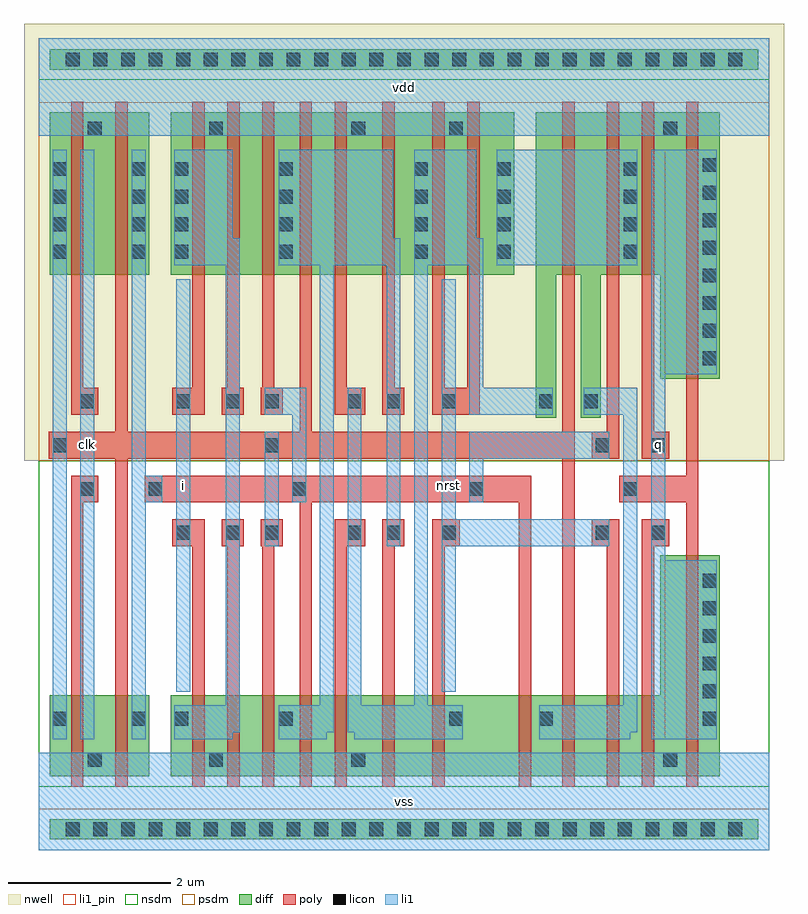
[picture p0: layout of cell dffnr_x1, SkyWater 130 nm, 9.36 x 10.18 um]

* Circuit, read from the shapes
.subckt dffnr_x1 clk i nrst q vdd vss
XM1 vss clk n1 VSUBS sky130_fd_pr__nfet_01v8 w=1 l=0.15
XM2 n2 n1 vss VSUBS sky130_fd_pr__nfet_01v8 w=1 l=0.15
XM3 vss i n3 VSUBS sky130_fd_pr__nfet_01v8 w=1 l=0.15
XM4 n4 n3 vss VSUBS sky130_fd_pr__nfet_01v8 w=1 l=0.15
XM5 n5 n1 n4 VSUBS sky130_fd_pr__nfet_01v8 w=1 l=0.15
XM6 n6 n2 n5 VSUBS sky130_fd_pr__nfet_01v8 w=1 l=0.15
XM7 vss n7 n6 VSUBS sky130_fd_pr__nfet_01v8 w=1 l=0.15
XM8 n8 n5 vss VSUBS sky130_fd_pr__nfet_01v8 w=1 l=0.15
XM9 n7 nrst n8 VSUBS sky130_fd_pr__nfet_01v8 w=1 l=0.15
XM10 n9 n2 n7 VSUBS sky130_fd_pr__nfet_01v8 w=1 l=0.15
XM11 n10 n1 n9 VSUBS sky130_fd_pr__nfet_01v8 w=1 l=0.15
XM12 n11 nrst n10 VSUBS sky130_fd_pr__nfet_01v8 w=1 l=0.15
XM13 vss q n11 VSUBS sky130_fd_pr__nfet_01v8 w=1 l=0.15
XM14 q n9 vss VSUBS sky130_fd_pr__nfet_01v8 w=2.725 l=0.15
XM15 vdd clk n1 n12 sky130_fd_pr__pfet_01v8 w=2 l=0.15
XM16 n2 n1 vdd n12 sky130_fd_pr__pfet_01v8 w=2 l=0.15
XM17 vdd i n3 n12 sky130_fd_pr__pfet_01v8 w=2 l=0.15
XM18 n13 n3 vdd n12 sky130_fd_pr__pfet_01v8 w=2 l=0.15
XM19 n5 n2 n13 n12 sky130_fd_pr__pfet_01v8 w=2 l=0.15
XM20 n14 n1 n5 n12 sky130_fd_pr__pfet_01v8 w=2 l=0.15
XM21 vdd n7 n14 n12 sky130_fd_pr__pfet_01v8 w=2 l=0.15
XM22 n7 n5 vdd n12 sky130_fd_pr__pfet_01v8 w=2 l=0.15
XM23 vdd nrst n7 n12 sky130_fd_pr__pfet_01v8 w=2 l=0.15
XM24 n15 nrst vdd n12 sky130_fd_pr__pfet_01v8 w=2 l=0.15
XM25 n9 n1 n7 n12 sky130_fd_pr__pfet_01v8 w=2 l=0.15
XM26 n15 n2 n9 n12 sky130_fd_pr__pfet_01v8 w=2 l=0.15
XM27 vdd q n15 n12 sky130_fd_pr__pfet_01v8 w=2 l=0.15
XM28 q n9 vdd n12 sky130_fd_pr__pfet_01v8 w=3.285 l=0.15
.ends

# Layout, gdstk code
import gdstk
lib = gdstk.Library(unit=1e-6, precision=1e-09)
def R(c, l, rs):  # rectangles x0, y0, x1, y1
    for r in rs: c.add(gdstk.rectangle(r[:2], r[2:], *l))
def A(c, l, x, y, w, h, nx, ny, dx, dy):  # array of equal rectangles
    R(c, l, [(x+i*dx, y+j*dy, x+i*dx+w, y+j*dy+h) for i in range(nx) for j in range(ny)])
def P(c, l, *ps):  # polygons
    for p in ps: c.add(gdstk.Polygon(p, *l))
nwell = (64, 20)
diff = (65, 20)
poly = (66, 20)
licon = (66, 44)
li1_pin = (67, 16)
li1 = (67, 20)
nsdm = (93, 44)
psdm = (94, 20)

dffnr_x1 = lib.new_cell('dffnr_x1')
R(dffnr_x1, nwell, [(-0.18,4.8,9.18,10.18)])
R(dffnr_x1, diff, [(0.135,0.135,8.865,0.385), (0.135,0.91,1.36,1.91), (0.135,7.09,1.36,9.09), (1.63,7.09,5.855,9.09), (0.135,9.615,8.865,9.865)])
P(dffnr_x1, diff, [(6.125,5.325),(6.125,9.09),(8.39,9.09),(8.39,5.805),(7.655,5.805),(7.655,7.09),(6.925,7.09),(6.925,5.325),(6.675,5.325),(6.675,7.09),(6.375,7.09),(6.375,5.325)],
  [(1.63,0.91),(1.63,1.91),(7.655,1.91),(7.655,3.635),(8.39,3.635),(8.39,0.91)])
P(dffnr_x1, poly, [(0.945,0.78),(0.945,4.825),(0.125,4.825),(0.125,5.155),(0.945,5.155),(0.945,9.22),(1.095,9.22),(1.095,5.155),(3.215,5.155),(3.215,9.22),(3.365,9.22),(3.365,5.155),(6.45,5.155),(6.45,9.22),(6.6,9.22),(6.6,0.78),(6.45,0.78),(6.45,4.825),(1.095,4.825),(1.095,0.78)],
  [(2.755,0.78),(2.755,3.745),(2.735,3.745),(2.735,4.075),(3.005,4.075),(3.005,3.745),(2.905,3.745),(2.905,0.78)],
  [(0.4,0.78),(0.4,4.615),(0.735,4.615),(0.735,4.285),(0.55,4.285),(0.55,0.78)],
  [(0.4,5.365),(0.4,9.22),(0.55,9.22),(0.55,5.695),(0.735,5.695),(0.735,5.365)],
  [(2.735,5.365),(2.735,5.695),(2.755,5.695),(2.755,9.22),(2.905,9.22),(2.905,5.695),(3.005,5.695),(3.005,5.365)],
  [(3.215,0.78),(3.215,4.285),(1.305,4.285),(1.305,4.615),(6.065,4.615),(6.065,0.78),(5.915,0.78),(5.915,4.285),(3.365,4.285),(3.365,0.78)],
  [(6.81,4.825),(6.81,5.155),(7,5.155),(7,9.22),(7.15,9.22),(7.15,4.825)],
  [(2.325,0.78),(2.325,3.745),(2.255,3.745),(2.255,4.075),(2.525,4.075),(2.525,3.745),(2.475,3.745),(2.475,0.78)],
  [(2.255,5.365),(2.255,5.695),(2.325,5.695),(2.325,9.22),(2.475,9.22),(2.475,5.695),(2.525,5.695),(2.525,5.365)],
  [(1.645,5.365),(1.645,5.695),(1.895,5.695),(1.895,9.22),(2.045,9.22),(2.045,5.365)],
  [(1.895,0.78),(1.895,3.745),(1.645,3.745),(1.645,4.075),(2.045,4.075),(2.045,0.78)],
  [(4.235,0.78),(4.235,4.075),(4.505,4.075),(4.505,3.745),(4.385,3.745),(4.385,0.78)],
  [(4.235,5.365),(4.235,9.22),(4.385,9.22),(4.385,5.695),(4.505,5.695),(4.505,5.365)],
  [(3.645,5.365),(3.645,9.22),(3.795,9.22),(3.795,5.695),(4.025,5.695),(4.025,5.365)],
  [(3.645,0.78),(3.645,4.075),(4.025,4.075),(4.025,3.745),(3.795,3.745),(3.795,0.78)],
  [(4.85,5.365),(4.85,9.22),(5,9.22),(5,5.695),(5.28,5.695),(5.28,9.22),(5.43,9.22),(5.43,5.365)],
  [(7,0.78),(7,3.745),(6.81,3.745),(6.81,4.075),(7.15,4.075),(7.15,0.78)],
  [(4.85,0.78),(4.85,4.075),(5.185,4.075),(5.185,3.745),(5,3.745),(5,0.78)],
  [(7.975,0.78),(7.975,4.285),(7.15,4.285),(7.15,4.615),(7.975,4.615),(7.975,9.22),(8.125,9.22),(8.125,0.78)],
  [(7.43,4.825),(7.43,9.22),(7.58,9.22),(7.58,5.155),(7.765,5.155),(7.765,4.825)],
  [(7.43,0.78),(7.43,4.075),(7.765,4.075),(7.765,3.745),(7.58,3.745),(7.58,0.78)])
A(dffnr_x1, licon, 0.335, 0.175, 0.17, 0.17, 25, 2, 0.34, 9.48)
A(dffnr_x1, licon, 8.18, 1.535, 0.17, 0.17, 1, 6, 0, 0.34)
A(dffnr_x1, licon, 8.18, 5.975, 0.17, 0.17, 1, 8, 0, 0.34)
A(dffnr_x1, licon, 0.175, 7.285, 0.17, 0.17, 1, 4, 0, 0.34)
A(dffnr_x1, licon, 1.15, 7.285, 0.17, 0.17, 1, 4, 0, 0.34)
A(dffnr_x1, licon, 1.67, 7.285, 0.17, 0.17, 1, 4, 0, 0.34)
A(dffnr_x1, licon, 2.96, 7.285, 0.17, 0.17, 1, 4, 0, 0.34)
A(dffnr_x1, licon, 4.625, 7.285, 0.17, 0.17, 1, 4, 0, 0.34)
A(dffnr_x1, licon, 5.645, 7.285, 0.17, 0.17, 1, 4, 0, 0.34)
A(dffnr_x1, licon, 7.205, 7.285, 0.17, 0.17, 1, 4, 0, 0.34)
R(dffnr_x1, licon, [(0.605,1.03,0.775,1.2), (2.1,1.03,2.27,1.2), (3.85,1.03,4.02,1.2), (7.695,1.03,7.865,1.2), (0.175,1.535,0.345,1.705), (1.15,1.535,1.32,1.705), (1.67,1.535,1.84,1.705), (2.96,1.535,3.13,1.705), (5.055,1.535,5.225,1.705), (6.165,1.535,6.335,1.705), (1.695,3.825,1.865,3.995), (2.305,3.825,2.475,3.995), (2.785,3.825,2.955,3.995), (3.805,3.825,3.975,3.995), (4.285,3.825,4.455,3.995), (4.965,3.825,5.135,3.995), (6.86,3.825,7.03,3.995), (7.545,3.825,7.715,3.995), (0.515,4.365,0.685,4.535), (1.355,4.365,1.525,4.535), (3.125,4.365,3.295,4.535), (5.305,4.365,5.475,4.535), (7.2,4.365,7.37,4.535), (0.175,4.905,0.345,5.075), (2.785,4.905,2.955,5.075), (6.86,4.905,7.03,5.075), (7.545,4.905,7.715,5.075), (0.515,5.445,0.685,5.615), (1.695,5.445,1.865,5.615), (2.305,5.445,2.475,5.615), (2.785,5.445,2.955,5.615), (3.805,5.445,3.975,5.615), (4.285,5.445,4.455,5.615), (4.965,5.445,5.135,5.615), (6.165,5.445,6.335,5.615), (6.715,5.445,6.885,5.615), (0.605,8.8,0.775,8.97), (2.1,8.8,2.27,8.97), (3.85,8.8,4.02,8.97), (5.055,8.8,5.225,8.97), (7.695,8.8,7.865,8.97)])
R(dffnr_x1, li1_pin, [(0,0,9,1.2), (0.515,1.37,0.685,8.63), (7.545,1.37,7.715,8.63), (1.695,1.955,1.865,7.035), (4.965,1.955,5.135,7.035), (0,8.8,9,10)])
R(dffnr_x1, li1, [(0,0,9,1.2), (0.175,1.37,0.345,8.63), (0.515,1.37,0.685,8.63), (1.695,1.955,1.865,7.035), (2.785,3.745,2.955,5.155), (5.645,7.205,7.375,8.63), (0,8.8,9,10)])
P(dffnr_x1, li1, [(3.125,4.285),(3.125,5.365),(2.785,5.365),(2.785,5.695),(3.295,5.695),(3.295,4.285)],
  [(1.15,1.37),(1.15,8.63),(1.32,8.63),(1.32,4.615),(1.525,4.615),(1.525,4.285),(1.32,4.285),(1.32,1.37)],
  [(5.305,4.285),(5.305,5.155),(7.03,5.155),(7.03,4.825),(5.475,4.825),(5.475,4.285)],
  [(1.67,1.37),(1.67,1.785),(2.305,1.785),(2.305,7.205),(1.67,7.205),(1.67,8.63),(2.39,8.63),(2.39,7.535),(2.475,7.535),(2.475,1.455),(2.39,1.455),(2.39,1.37)],
  [(2.96,1.37),(2.96,1.785),(3.465,1.785),(3.465,7.205),(2.96,7.205),(2.96,8.63),(4.37,8.63),(4.37,7.535),(4.455,7.535),(4.455,3.745),(4.285,3.745),(4.285,7.205),(3.635,7.205),(3.635,1.455),(3.55,1.455),(3.55,1.37)],
  [(3.89,1.37),(3.89,1.455),(3.805,1.455),(3.805,5.695),(3.975,5.695),(3.975,1.785),(4.625,1.785),(4.625,8.63),(5.39,8.63),(5.39,7.535),(5.475,7.535),(5.475,5.695),(6.335,5.695),(6.335,5.365),(5.305,5.365),(5.305,7.205),(4.795,7.205),(4.795,1.785),(5.225,1.785),(5.225,1.37)],
  [(4.965,1.955),(4.965,7.035),(5.135,7.035),(5.135,4.075),(7.03,4.075),(7.03,3.745),(5.135,3.745),(5.135,1.955)],
  [(6.165,1.37),(6.165,1.785),(7.2,1.785),(7.2,5.365),(6.715,5.365),(6.715,5.695),(7.37,5.695),(7.37,1.455),(7.285,1.455),(7.285,1.37)],
  [(7.545,1.37),(7.545,8.63),(8.35,8.63),(8.35,5.865),(7.715,5.865),(7.715,3.575),(8.35,3.575),(8.35,1.37)])
R(dffnr_x1, nsdm, [(0,0.785,9,4.8), (0,9.49,9,10)])
R(dffnr_x1, psdm, [(0,0,9,0.51), (0,4.8,9,9.215)])
dffnr_x1.add(gdstk.Label('vdd', (4.5,9.4), layer=67, texttype=16))
dffnr_x1.add(gdstk.Label('vss', (4.5,0.6), layer=67, texttype=16))
dffnr_x1.add(gdstk.Label('clk', (0.6,5), layer=67, texttype=16))
dffnr_x1.add(gdstk.Label('i', (1.78,4.495), layer=67, texttype=16))
dffnr_x1.add(gdstk.Label('nrst', (5.05,4.495), layer=67, texttype=16))
dffnr_x1.add(gdstk.Label('q', (7.63,5), layer=67, texttype=16))

lib.write_gds('dffnr_x1.gds')
